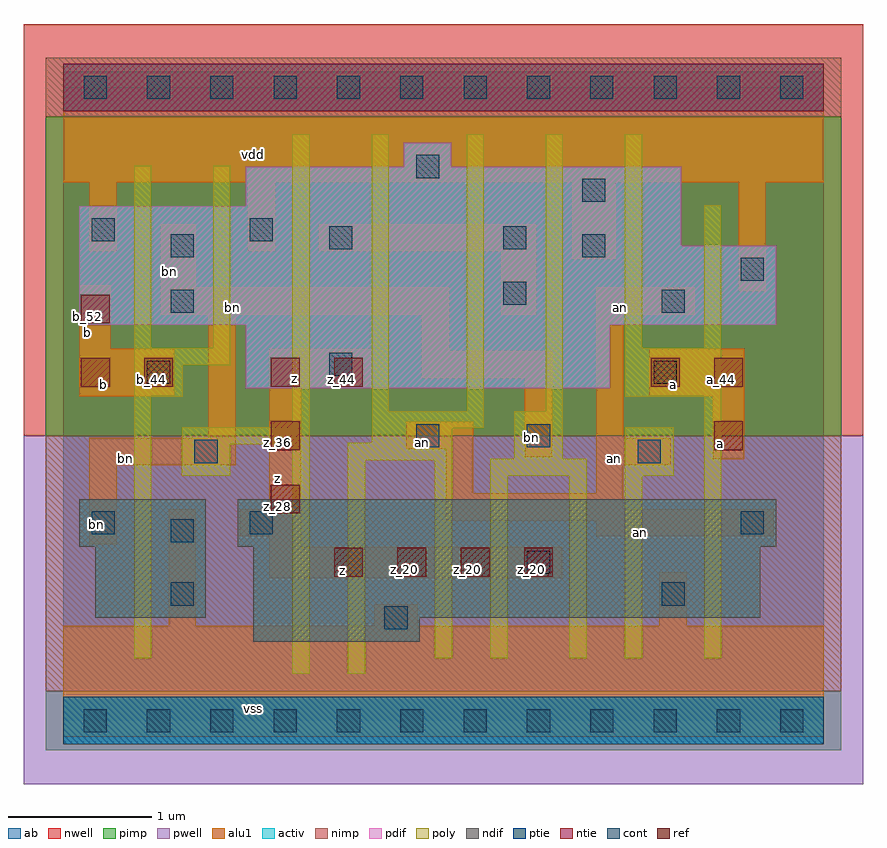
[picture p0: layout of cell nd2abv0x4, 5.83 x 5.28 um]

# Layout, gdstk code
import gdstk
lib = gdstk.Library(unit=1e-6, precision=2.5e-09)
def R(c, l, rs):  # rectangles x0, y0, x1, y1
    for r in rs: c.add(gdstk.rectangle(r[:2], r[2:], *l))
def A(c, l, x, y, w, h, nx, ny, dx, dy):  # array of equal rectangles
    R(c, l, [(x+i*dx, y+j*dy, x+i*dx+w, y+j*dy+h) for i in range(nx) for j in range(ny)])
ndif = (3, 0)
pdif = (4, 0)
ntie = (5, 0)
ptie = (6, 0)
ref = (24, 0)
cont = (25, 0)
pwell = (41, 0)
nwell = (42, 0)
activ = (43, 0)
pimp = (44, 0)
nimp = (45, 0)
poly = (46, 0)
alu1 = (49, 0)
ab = (63, 0)

nd2abv0x4 = lib.new_cell('nd2abv0x4')
R(nd2abv0x4, ndif, [(1.32,0.55,2.475,0.715), (0.22,0.715,0.99,1.21), (1.32,0.715,4.84,1.21), (0.11,1.21,0.99,1.54), (1.21,1.21,4.95,1.54)])
R(nd2abv0x4, pdif, [(1.265,2.31,3.795,2.75), (0.11,2.75,4.95,3.3), (0.11,3.3,4.29,3.575), (1.265,3.575,4.29,3.85), (2.365,3.85,2.695,4.015)])
R(nd2abv0x4, ntie, [(0,4.235,5.28,4.565)])
R(nd2abv0x4, ptie, [(0,-0.165,5.28,0.165)])
A(nd2abv0x4, ref, 1.88, 1, 0.2, 0.2, 4, 1, 0.44, 0)
A(nd2abv0x4, ref, 1.44, 1.44, 0.2, 0.2, 1, 3, 0, 0.44)
R(nd2abv0x4, ref, [(4.52,1.88,4.72,2.08), (0.12,2.32,0.32,2.52), (0.56,2.32,0.76,2.52), (1.88,2.32,2.08,2.52), (4.08,2.32,4.28,2.52), (4.52,2.32,4.72,2.52), (0.12,2.76,0.32,2.96)])
A(nd2abv0x4, cont, 0.14, -0.08, 0.16, 0.16, 12, 2, 0.44, 4.4)
R(nd2abv0x4, cont, [(2.23,0.635,2.39,0.795), (0.745,0.8,0.905,0.96), (4.155,0.8,4.315,0.96), (3.22,1.02,3.38,1.18), (0.745,1.24,0.905,1.4), (0.195,1.295,0.355,1.455), (1.295,1.295,1.455,1.455), (4.705,1.295,4.865,1.455), (0.91,1.79,1.07,1.95), (3.99,1.79,4.15,1.95), (2.45,1.9,2.61,2.06), (3.22,1.9,3.38,2.06), (0.58,2.34,0.74,2.5), (4.1,2.34,4.26,2.5), (1.845,2.395,2.005,2.555), (0.745,2.835,0.905,2.995), (4.155,2.835,4.315,2.995), (3.055,2.89,3.215,3.05), (4.705,3.055,4.865,3.215), (0.745,3.22,0.905,3.38), (3.605,3.22,3.765,3.38), (1.845,3.275,2.005,3.435), (3.055,3.275,3.215,3.435), (0.195,3.33,0.355,3.49), (1.295,3.33,1.455,3.49), (3.605,3.605,3.765,3.765), (2.45,3.77,2.61,3.93)])
R(nd2abv0x4, pwell, [(-0.275,-0.44,5.555,1.98)])
R(nd2abv0x4, nwell, [(-0.275,1.98,5.555,4.84)])
R(nd2abv0x4, activ, [(0,-0.165,5.28,0.165), (1.32,0.55,2.475,0.715), (0.22,0.715,0.99,1.21), (1.32,0.715,4.84,1.21), (0.11,1.21,0.99,1.54), (1.21,1.21,4.95,1.54), (1.265,2.31,3.795,2.75), (0.11,2.75,4.95,3.3), (0.11,3.3,4.29,3.575), (1.265,3.575,4.29,3.85), (2.365,3.85,2.695,4.015), (0,4.235,5.28,4.565)])
R(nd2abv0x4, pimp, [(-0.125,-0.205,5.405,0.205), (-0.125,1.98,5.405,4.195)])
R(nd2abv0x4, nimp, [(-0.125,0.205,5.405,1.98), (-0.125,4.195,5.405,4.605)])
R(nd2abv0x4, poly, [(1.59,0.325,1.71,1.92), (1.975,0.325,2.095,1.81), (0.49,0.435,0.61,2.25), (2.58,0.435,2.7,1.81), (2.965,0.435,3.085,1.7), (3.515,0.435,3.635,1.7), (3.9,0.435,4.02,1.7), (4.45,0.435,4.57,2.25), (0.82,1.7,1.16,1.92), (2.965,1.7,3.635,1.82), (3.9,1.7,4.24,2.04), (1.975,1.81,2.7,1.93), (3.13,1.82,3.47,2.15), (0.82,1.92,1.71,2.04), (2.14,1.93,2.7,2.03), (2.14,2.03,2.92,2.15), (1.59,2.04,1.71,4.075), (2.14,2.15,2.26,4.075), (2.8,2.15,2.92,4.075), (3.35,2.15,3.47,4.075), (0.49,2.25,0.83,2.47), (3.9,2.25,4.57,2.59), (0.49,2.47,1.16,2.59), (0.49,2.59,0.61,3.855), (1.04,2.59,1.16,3.855), (3.9,2.59,4.02,4.075), (4.45,2.59,4.57,3.58)])
R(nd2abv0x4, alu1, [(0,-0.11,5.28,0.66), (0.73,0.66,0.92,1.47), (2.16,0.66,2.46,0.81), (4.14,0.66,4.33,1.03), (1.43,0.99,3.465,1.21), (1.43,1.21,1.65,1.28), (0.18,1.225,0.37,1.775), (1.225,1.28,1.65,1.47), (3.7,1.28,4.935,1.39), (2.655,1.39,4.935,1.47), (1.43,1.47,1.65,2.31), (2.655,1.47,3.89,1.58), (2.655,1.58,2.845,1.885), (3.7,1.58,3.89,1.775), (0.18,1.775,1.195,1.965), (3.7,1.775,4.22,1.965), (4.51,1.815,4.73,2.255), (3.205,1.83,3.395,2.38), (2.38,1.885,2.845,2.075), (1.005,1.965,1.195,2.82), (3.7,1.965,3.89,2.82), (0.11,2.255,0.77,2.585), (4.07,2.255,4.73,2.585), (1.43,2.31,2.145,2.585), (2.49,2.38,3.395,2.57), (2.49,2.57,2.68,2.82), (0.11,2.585,0.33,3.025), (0.675,2.82,2.68,3.01), (3.04,2.82,3.285,3.26), (3.7,2.82,4.385,3.01), (4.69,2.985,4.88,3.74), (0.675,3.01,0.92,3.45), (3.535,3.205,3.835,3.74), (0.18,3.26,0.37,3.74), (1.28,3.26,1.47,3.74), (1.775,3.26,3.285,3.45), (0,3.74,5.28,4.51)])
R(nd2abv0x4, ab, [(0,0,5.28,4.4)])
nd2abv0x4.add(gdstk.Label('vss', (1.32,0.0825), layer=49, texttype=0))
nd2abv0x4.add(gdstk.Label('z', (1.9375,1.045), layer=49, texttype=0))
nd2abv0x4.add(gdstk.Label('an', (4.0075,1.3075), layer=49, texttype=0))
nd2abv0x4.add(gdstk.Label('a', (4.565,1.925), layer=49, texttype=0))
nd2abv0x4.add(gdstk.Label('an', (3.83,1.8225), layer=49, texttype=0))
nd2abv0x4.add(gdstk.Label('a', (4.235,2.3375), layer=49, texttype=0))
nd2abv0x4.add(gdstk.Label('bn', (3.2525,1.9675), layer=49, texttype=0))
nd2abv0x4.add(gdstk.Label('an', (2.495,1.9325), layer=49, texttype=0))
nd2abv0x4.add(gdstk.Label('z', (1.485,1.68), layer=49, texttype=0))
nd2abv0x4.add(gdstk.Label('bn', (0.2275,1.3625), layer=49, texttype=0))
nd2abv0x4.add(gdstk.Label('z', (1.6075,2.3775), layer=49, texttype=0))
nd2abv0x4.add(gdstk.Label('bn', (0.4325,1.8225), layer=49, texttype=0))
nd2abv0x4.add(gdstk.Label('b', (0.275,2.3375), layer=49, texttype=0))
nd2abv0x4.add(gdstk.Label('an', (3.87,2.8675), layer=49, texttype=0))
nd2abv0x4.add(gdstk.Label('bn', (1.175,2.8675), layer=49, texttype=0))
nd2abv0x4.add(gdstk.Label('bn', (0.735,3.12), layer=49, texttype=0))
nd2abv0x4.add(gdstk.Label('b', (0.165,2.695), layer=49, texttype=0))
nd2abv0x4.add(gdstk.Label('vdd', (1.32,3.9325), layer=49, texttype=0))
nd2abv0x4.add(gdstk.Label('a_44', (4.57,2.37), layer=24, texttype=0))
nd2abv0x4.add(gdstk.Label('a_36', (4.57,1.93), layer=24, texttype=0))
nd2abv0x4.add(gdstk.Label('a_44', (4.13,2.37), layer=24, texttype=0))
nd2abv0x4.add(gdstk.Label('z_20', (3.25,1.05), layer=24, texttype=0))
nd2abv0x4.add(gdstk.Label('z_20', (2.81,1.05), layer=24, texttype=0))
nd2abv0x4.add(gdstk.Label('z_20', (2.37,1.05), layer=24, texttype=0))
nd2abv0x4.add(gdstk.Label('b_52', (0.17,2.81), layer=24, texttype=0))
nd2abv0x4.add(gdstk.Label('b_44', (0.17,2.37), layer=24, texttype=0))
nd2abv0x4.add(gdstk.Label('z_44', (1.93,2.37), layer=24, texttype=0))
nd2abv0x4.add(gdstk.Label('z_20', (1.93,1.05), layer=24, texttype=0))
nd2abv0x4.add(gdstk.Label('z_44', (1.49,2.37), layer=24, texttype=0))
nd2abv0x4.add(gdstk.Label('z_36', (1.49,1.93), layer=24, texttype=0))
nd2abv0x4.add(gdstk.Label('z_28', (1.49,1.49), layer=24, texttype=0))
nd2abv0x4.add(gdstk.Label('b_44', (0.61,2.37), layer=24, texttype=0))

lib.write_gds('nd2abv0x4.gds')
